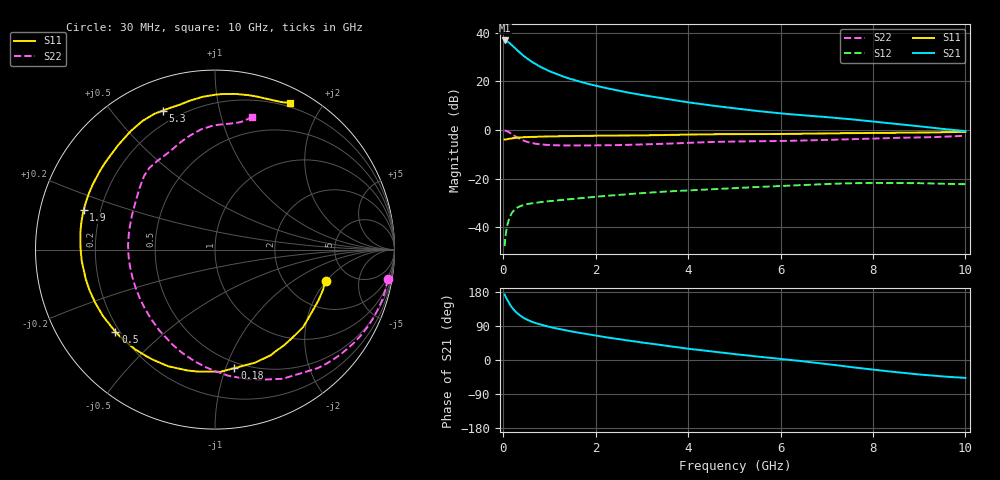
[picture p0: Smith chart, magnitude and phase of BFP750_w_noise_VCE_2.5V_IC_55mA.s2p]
! Infineon Technologies  Discrete & RF Semiconductors
! BFP750
! VCE =  2.5 V,  IC =  55 mA
! Common Emitter S-Parameters:  Jan 2016
# GHz  S  MA  R  50
!  f  S11  S21  S12  S22
! GHz  MAG  ANG  MAG  ANG  MAG  ANG  MAG  ANG
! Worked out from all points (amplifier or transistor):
!   229 points, 30 MHz to 10 GHz, reference 50 ohm
!   highest |S21| = 36.9 dB at 30 MHz (marker M1)
!   |S21| within 3 dB of that: start of sweep to 246.6 MHz
!   unconditionally stable (mu >= 1): 3.846 GHz to end of sweep
!   at 280 MHz: K = 0.17, MSG = 32.7 dB, |S12| = -32.2 dB
!   at 1.78 GHz: K = 0.72, MSG = 23.6 dB, |S12| = -27.8 dB
!   at 10 GHz: K = 1.05, MAG = 9.5 dB, |S12| = -22.3 dB
!   lowest NFmin = 1.08 dB at 450 MHz
!   S11 on the Smith chart (normalised r, x): 30 MHz: 3.33, -1.97; 180 MHz: 0.45, -1.07; 500 MHz: 0.18, -0.35; 1.9 GHz: 0.14, +0.15; 5.3 GHz: 0.14, +0.68; 10 GHz: 0.15, +1.63
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0.03  0.6412 -15.7  69.73 172.7  0.0041 84.9  0.9764 -9.7
0.05  0.6421 -26.3  69.39 167.2  0.0066 79.4  0.9729 -16.9
0.07  0.6455 -36.3  68 162.5  0.009 75.8  0.9596 -23.9
0.105  0.6555 -52.3  64.9 154.7  0.0128 67.8  0.9262 -35.4
0.15  0.6682 -70.5  60.17 145.5  0.017 60.4  0.8739 -49.1
0.18  0.6692 -80.7  56.52 140.4  0.0191 55.7  0.8315 -56.9
0.2  0.6815 -87.4  54.36 136.7  0.0206 53.1  0.8124 -62.4
0.24  0.6863 -98.0  50.04 131.2  0.0227 48.6  0.7645 -71.6
0.3  0.7005 -112.0  44.16 123.5  0.0253 43.1  0.7062 -84.1
0.4  0.7117 -128.5  36.26 114.2  0.028 36.8  0.6311 -100.7
0.5  0.7195 -140.4  30.42 107.3  0.0298 32.7  0.5805 -113.9
0.7  0.7306 -156.3  22.71 97.4  0.032 28.2  0.5248 -133.1
0.9  0.7384 -166.9  18.01 90.3  0.0338 26.2  0.4997 -146.6
1.2  0.7477 -178.5  13.65 81.9  0.0361 24.9  0.4857 -161.0
1.7  0.7604 167.7  9.677 70.6  0.04 23.9  0.4832 -177.2
1.9  0.7645 163.1  8.623 66.5  0.0416 23.5  0.4849 177.6
3.4  0.7893 134.7  4.565 39.7  0.0536 17.8  0.519 148.0
5.1  0.8279 112.9  2.734 14.4  0.0649 8.6  0.5845 127.6
5.3  0.8275 110.6  2.599 11.8  0.0662 7.3  0.5865 125.3
6.8  0.8486 96.4  1.911 -7.7  0.0767 -2.9  0.6205 109.5
8.4  0.8808 77.5  1.374 -30.8  0.082 -18.0  0.6888 91.6
10  0.9199 62.8  0.955 -47.2  0.077 -29.5  0.7659 74.6
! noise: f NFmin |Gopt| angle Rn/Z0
0.45  1.08  0.19  -168  0.47
0.9  1.11  0.25  -161  0.24
1.5  1.13  0.36  -155  0.09
1.9  1.14  0.39  -150  0.08
2.4  1.15  0.4  -143  0.09
3.5  1.38  0.41  -127  0.1
